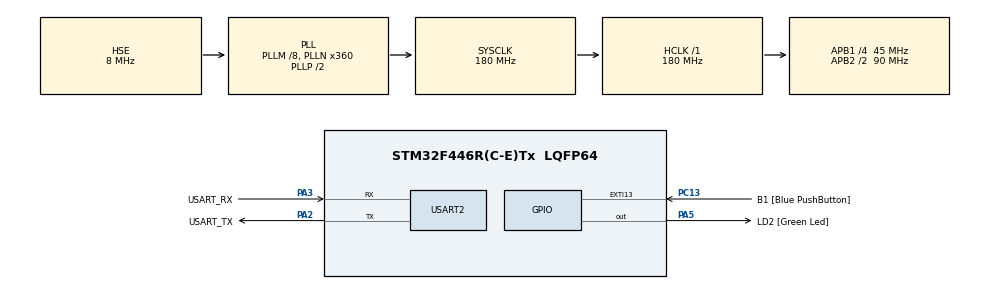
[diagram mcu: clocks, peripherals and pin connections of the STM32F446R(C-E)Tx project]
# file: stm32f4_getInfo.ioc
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Mcu.Family=STM32F4
Mcu.Name=STM32F446R(C-E)Tx
Mcu.Package=LQFP64
NVIC.PriorityGroup=NVIC_PRIORITYGROUP_0
PA13.GPIO_Label=TMS
PA13.Signal=SYS_JTMS-SWDIO
PA14.GPIO_Label=TCK
PA14.Signal=SYS_JTCK-SWCLK
PA2.GPIO_Label=USART_TX
PA2.Mode=Asynchronous
PA2.Signal=USART2_TX
PA3.GPIO_Label=USART_RX
PA3.Mode=Asynchronous
PA3.Signal=USART2_RX
PA5.GPIO_Label=LD2 [Green Led]
PA5.Signal=GPIO_Output
PB3.GPIO_Label=SWO
PB3.Signal=SYS_JTDO-SWO
PC13.GPIO_Label=B1 [Blue PushButton]
PC13.GPIO_ModeDefaultEXTI=GPIO_MODE_IT_FALLING
PC13.Signal=GPXTI13
PC14-OSC32_IN.Signal=RCC_OSC32_IN
PC15-OSC32_OUT.Signal=RCC_OSC32_OUT
PH0-OSC_IN.Mode=HSE-External-Clock-Source
PH0-OSC_IN.Signal=RCC_OSC_IN
PH1-OSC_OUT.Mode=HSE-External-Clock-Source
PH1-OSC_OUT.Signal=RCC_OSC_OUT
ProjectManager.HeapSize=0x200
ProjectManager.StackSize=0x400
ProjectManager.TargetToolchain=SW4STM32
RCC.AHBCLKDivider=RCC_SYSCLK_DIV1
RCC.AHBFreq_Value=180000000
RCC.APB1CLKDivider=RCC_HCLK_DIV4
RCC.APB1Freq_Value=45000000
RCC.APB1TimFreq_Value=90000000
RCC.APB2CLKDivider=RCC_HCLK_DIV2
RCC.APB2Freq_Value=90000000
RCC.APB2TimFreq_Value=180000000
RCC.CortexFreq_Value=180000000
RCC.Cortex_Div=SYSTICK_CLKSOURCE_HCLK
RCC.FLatency-AdvancedSettings=FLASH_LATENCY_5
RCC.HCLKFreq_Value=180000000
RCC.HSE_VALUE=8000000
RCC.HSI_VALUE=16000000
RCC.LSE_VALUE=32768
RCC.PLLI2SP=RCC_PLLI2SP_DIV2
RCC.PLLN=360
RCC.PLLP=RCC_PLLP_DIV2
RCC.PLLSAIP=RCC_PLLSAIP_DIV2
RCC.RCC_MCODiv1=RCC_MCODIV_1
RCC.RCC_MCODiv2=RCC_MCODIV_1
RCC.RCC_RTC_Clock_SourceVirtual=RCC_RTCCLKSOURCE_LSI
RCC.RCC_RTC_Clock_Source_FROM_HSE=RCC_RTCCLKSOURCE_HSE_DIV2
RCC.SYSCLKFreq_VALUE=180000000
RCC.SYSCLKSource=RCC_SYSCLKSOURCE_PLLCLK
RCC.USBFreq_Value=180000000
RCC.VCOOutputFreq_Value=360000000
USART2.VirtualMode=VM_ASYNC
board=NUCLEO-F446RE

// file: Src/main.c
/**
  ******************************************************************************
  * File Name          : main.c
  * Description        : Main program body
  ******************************************************************************
  ** This notice applies to any and all portions of this file
  * that are not between comment pairs USER CODE BEGIN and
  * USER CODE END. Other portions of this file, whether
  * inserted by the user or by software development tools
  * are owned by their respective copyright owners.
  *
  * COPYRIGHT(c) 2017 STMicroelectronics
  *
  * Redistribution and use in source and binary forms, with or without modification,
  * are permitted provided that the following conditions are met:
  *   1. Redistributions of source code must retain the above copyright notice,
  *      this list of conditions and the following disclaimer.
  *   2. Redistributions in binary form must reproduce the above copyright notice,
  *      this list of conditions and the following disclaimer in the documentation
  *      and/or other materials provided with the distribution.
  *   3. Neither the name of STMicroelectronics nor the names of its contributors
  *      may be used to endorse or promote products derived from this software
  *      without specific prior written permission.
  *
  * THIS SOFTWARE IS PROVIDED BY THE COPYRIGHT HOLDERS AND CONTRIBUTORS "AS IS"
  * AND ANY EXPRESS OR IMPLIED WARRANTIES, INCLUDING, BUT NOT LIMITED TO, THE
  * IMPLIED WARRANTIES OF MERCHANTABILITY AND FITNESS FOR A PARTICULAR PURPOSE ARE
  * DISCLAIMED. IN NO EVENT SHALL THE COPYRIGHT HOLDER OR CONTRIBUTORS BE LIABLE
  * FOR ANY DIRECT, INDIRECT, INCIDENTAL, SPECIAL, EXEMPLARY, OR CONSEQUENTIAL
  * DAMAGES (INCLUDING, BUT NOT LIMITED TO, PROCUREMENT OF SUBSTITUTE GOODS OR
  * SERVICES; LOSS OF USE, DATA, OR PROFITS; OR BUSINESS INTERRUPTION) HOWEVER
  * CAUSED AND ON ANY THEORY OF LIABILITY, WHETHER IN CONTRACT, STRICT LIABILITY,
  * OR TORT (INCLUDING NEGLIGENCE OR OTHERWISE) ARISING IN ANY WAY OUT OF THE USE
  * OF THIS SOFTWARE, EVEN IF ADVISED OF THE POSSIBILITY OF SUCH DAMAGE.
  *
  ******************************************************************************
  */
#include "main.h"
#include "stm32f4xx_hal.h"

/* USER CODE BEGIN Includes */
#include "stm32f4xx_nucleo.h"

/* USER CODE END Includes */

UART_HandleTypeDef huart2;

/* USER CODE BEGIN PV */
/* Private variables ---------------------------------------------------------*/
RCC_OscInitTypeDef RCC_OscInitStruct;
RCC_ClkInitTypeDef RCC_ClkInitStruct;

/* USER CODE END PV */

void SystemClock_Config(void);
static void MX_GPIO_Init(void);
static void MX_USART2_UART_Init(void);

/* USER CODE BEGIN PFP */
/* Private function prototypes -----------------------------------------------*/
#ifdef __GNUC__
#define PUTCHAR_PROTOTYPE int __io_putchar(int ch)
#else
#define PUTCHAR_PROTOTYPE int fputc(int ch, FILE *f)
#endif /* __GNUC__ */

/* USER CODE END PFP */

int main(void)
{

  /* MCU Configuration----------------------------------------------------------*/

  /* Reset of all peripherals, Initializes the Flash interface and the Systick. */
  HAL_Init();

  /* Configure the system clock */
  SystemClock_Config();

  /* Initialize all configured peripherals */
  MX_GPIO_Init();
  MX_USART2_UART_Init();

  /* USER CODE BEGIN 2 */
  BSP_LED_Init(LED2);
  BSP_LED_On(LED2);

  char uart2Data[24] = "Connected to UART Two\r\n";
   HAL_UART_Transmit(&huart2, (uint8_t *)&uart2Data,sizeof(uart2Data), 0xFFFF);

 	uint8_t len = 0;
 	char devidString[14] = {0};
 	uint32_t idcode = DBGMCU->IDCODE & 0xFFF;
 	//len += sprintf(devidString, "Device ID: 0x%lX\r\n", idcode);
 	//printf("%s", devidString);
 	switch (idcode)
 	{
	case 0x410: len += sprintf(devidString+len, "stm32f1xx medium-density"); break;
	case 0x411: len += sprintf(devidString+len, "stm32f2xx"); break;
	case 0x412: len += sprintf(devidString+len, "stm32f1xx low-density"); break;
	case 0x413: len += sprintf(devidString+len, "stm32f4xx"); break;
	case 0x414: len += sprintf(devidString+len, "stm32f1xx high-density"); break;
	case 0x415: len += sprintf(devidString+len, "stm32l4xx"); break;
	case 0x416: len += sprintf(devidString+len, "stm32l1xx medium-density"); break;
	case 0x417: len += sprintf(devidString+len, "stm32l0xx"); break;
	case 0x418: len += sprintf(devidString+len, "stm32f1xx connectivity line"); break;
	case 0x419: len += sprintf(devidString+len, "stm32f4xx high-density"); break;
	case 0x420: len += sprintf(devidString+len, "stm32f1xx value line"); break;
	case 0x421: len += sprintf(devidString+len, "stm32f446"); break;
	case 0x422: len += sprintf(devidString+len, "stm32f3xx"); break;
	case 0x423: len += sprintf(devidString+len, "stm32f4xx low power"); break;
	case 0x425: len += sprintf(devidString+len, "stm32l0xx cat. 2"); break;
	case 0x427: len += sprintf(devidString+len, "stm32l1xx medium-density/plus"); break;
	case 0x428: len += sprintf(devidString+len, "stm32f1xx value line high-density"); break;
	case 0x429: len += sprintf(devidString+len, "stm32l1xx cat. 2"); break;
	case 0x430: len += sprintf(devidString+len, "stm32f1xx xl-density"); break;
	case 0x431: len += sprintf(devidString+len, "stm32f411re"); break;
	case 0x432: len += sprintf(devidString+len, "stm32f37x"); break;
	case 0x433: len += sprintf(devidString+len, "stm32f4xx de"); break;
	case 0x434: len += sprintf(devidString+len, "stm32f4xx dsi"); break;
	case 0x435: len += sprintf(devidString+len, "stm32l43x"); break;
	case 0x436: len += sprintf(devidString+len, "stm32l1xx high-density"); break;
	case 0x437: len += sprintf(devidString+len, "stm32l152re"); break;
	case 0x438: len += sprintf(devidString+len, "stm32f334"); break;
	case 0x439: len += sprintf(devidString+len, "stm32f3xx small"); break;
	case 0x440: len += sprintf(devidString+len, "stm32f0xx"); break;
	case 0x441: len += sprintf(devidString+len, "stm32f412"); break;
	case 0x442: len += sprintf(devidString+len, "stm32f09x"); break;
	case 0x444: len += sprintf(devidString+len, "stm32f0xx small"); break;
	case 0x445: len += sprintf(devidString+len, "stm32f04x"); break;
	case 0x446: len += sprintf(devidString+len, "stm32f303 high-density"); break;
	case 0x447: len += sprintf(devidString+len, "stm32l0xx cat. 5"); break;
	case 0x448: len += sprintf(devidString+len, "stm32f0xx can"); break;
	case 0x449: len += sprintf(devidString+len, "stm32f7"); break;
	case 0x451: len += sprintf(devidString+len, "stm32f7xx"); break;
	case 0x457: len += sprintf(devidString+len, "stm32l011"); break;
	case 0x458: len += sprintf(devidString+len, "stm32f410"); break;
	case 0x463: len += sprintf(devidString+len, "stm32f413"); break;
	default: len += sprintf(devidString+len, "unknown device\r\n");
 	}

	uint32_t revCode = (DBGMCU->IDCODE & DBGMCU_IDCODE_REV_ID_Msk) >> DBGMCU_IDCODE_REV_ID_Pos;
	switch (revCode)
	{
	case 0x1000: len += sprintf(devidString+len, "  Revision A\r\n"); break;
	default: len += sprintf(devidString+len, " Revision %lX\r\n", revCode); break;
	}

 	printf("%s", devidString);
 	//GUI_DispString(devidString);

 	len = 0;
 	uint32_t cpuid = SCB->CPUID;
 	uint32_t var, pat;
 	pat = (cpuid & 0x0000000F);
 	var = (cpuid & 0x00F00000) >> 20;
 	uint32_t mvfr0;
 	char cpuString[24] = {0};

 	//len += sprintf(cpuString, "CPU ID: 0x");
 	//len += sprintf(cpuString+len, "%lX\r\n", cpuid);

 	if ((cpuid & 0xFF000000) == 0x41000000) // ARM
 		{
 			len += sprintf(cpuString+len, "ARM ");
 			switch((cpuid & 0x0000FFF0) >> 4)
 				{
 					case 0xC20 : len += sprintf(cpuString+len, "Cortex M0 r%ldp%ld\r\n", var, pat); break;
 					case 0xC60 : len += sprintf(cpuString+len, "Cortex M0+ r%ldp%ld\r\n", var, pat); break;
 					case 0xC21 : len += sprintf(cpuString+len, "Cortex M1 r%ldp%ld\r\n", var, pat); break;
 					case 0xC23 : len += sprintf(cpuString+len, "Cortex M3 r%ldp%ld\r\n", var, pat); break;
 					case 0xC24 : len += sprintf(cpuString+len, "Cortex M4 r%ldp%ld\r\n", var, pat); break;
 					case 0xC27 : len += sprintf(cpuString+len, "Cortex M7 r%ldp%ld\r\n", var, pat); break;

 					default : len += sprintf(cpuString+len, "Unknown CORE\r\n");
 				}
 		}

     mvfr0 = *(volatile uint32_t *)0xE000EF40;

     if (mvfr0 > 0){
 	 //mvfr0 = SCB->MVFR0;
     /*
     printf("FPCCR: %08lX\r\n", *(volatile uint32_t *)0xE000EF34); // 0xC0000000
     printf("FPCAR: %08lX\r\n", *(volatile uint32_t *)0xE000EF38);
     printf("FPDSCR: %08lX\r\n", *(volatile uint32_t *)0xE000EF3C);
     printf("MVFR0: %08lX\r\n", *(volatile uint32_t *)0xE000EF40); // 0x10110021 single or 10110221 double
     printf("MVFR1: %08lX\r\n", *(volatile uint32_t *)0xE000EF44); // 0x11000011 or 12000011
     printf("MVFR2: %08lX\r\n", *(volatile uint32_t *)0xE000EF48); // 0x00000040
	 */
     switch(mvfr0)
     	 {
     	 case 0x10110021 : len += sprintf(cpuString+len, "Single precision FPU\r\n"); break;
     	 case 0x10110221 : len += sprintf(cpuString+len, "Double precision FPU\r\n"); break;
     	 //default : len += sprintf(cpuString+len, "No FPU\r\n");
     	 default: ;
     	 }
     }
 	printf("%s",cpuString);

	len = 0;
	char memString[512] = {0};
	switch (idcode)
	{
	case 0x421: len += sprintf(memString+len, "%dK Flash, 128K SRAM\r\n", *((unsigned short *)FLASHSIZE_BASE)); break;
	default: len += sprintf(memString+len, "unknown device\r\n");
	}
	printf("%s", memString);

	len = 0;
	char pkgString[128] = {0};
	uint32_t pkg = *((uint32_t *)PACKAGE_BASE) & 0x0700;
	switch (pkg)
	{
	case 0x00000000: len += sprintf(pkgString+len, "WLCSP36, UFQFPN48, or LQFP64\r\n"); break;
	case 0x00000100: len += sprintf(pkgString+len, "WLCSP168, FBGA169, LQFP100, LQFP64, or UFQFPN48\r\n"); break;
	case 0x00000200: len += sprintf(pkgString+len, "WLCSP64, WLCSP81, LQFP176, UFBGA1763\r\n"); break;
	case 0x00000300: len += sprintf(pkgString+len, "LQFP144, UFBGA144, UFBGA144, or UFBGA100\r\n"); break;
	case 0x00000400: len += sprintf(pkgString+len, "LQFP100, LQFP208, or TFBGA216\r\n"); break;
	case 0x00000500: len += sprintf(pkgString+len, "LQFP208 or TFBGA216\r\n"); break;
	case 0x00000600: len += sprintf(pkgString+len, "LQFP176, LQFP208 or TFBGA216\r\n"); break;
	case 0x00000700: len += sprintf(pkgString+len, "TQFP64, UFBGA144, or LQFP144\r\n"); break;
	}
	printf("%s", pkgString);

	len = 0;
	char idString[2048] = {0};
	uint32_t word0 = *(uint32_t *)(UID_BASE);
	uint32_t word1 = *(uint32_t *)(UID_BASE + 0x04);
	uint32_t word2 = *(uint32_t *)(UID_BASE + 0x08);
	uint64_t lotNum;
	char lotNumString[32] = {0};
	lotNum = ((uint64_t)word2 << 24 ) | (word1 >> 8);
	len += sprintf(idString, "Device Unique ID: ");
	len += sprintf(idString+len, "%08lX %08lX %08lX\r\n", word0, word1, word2);
	uint32_t x = word0 & 0xFFFF;
	uint32_t y = (word0 & 0xFFFF0000) >> 16;
	uint32_t wafer = word1 & 0xFF;
	sprintf(lotNumString, "%s", (char *)&lotNum);
	len += sprintf(idString+len, "Wafer %ld of Lot %s\r\n", wafer, lotNumString);
	len += sprintf(idString+len, "Location on wafer: X:%ld, Y:%ld\r\n", x,y);
	printf("%s", idString);

	len = 0;
	char myString[512] = {0};
	len += sprintf(myString+len, "HAL Version: ");
	uint32_t halVersion = HAL_GetHalVersion();
	len += sprintf(myString+len, "%d.", (uint8_t)(halVersion >> 24) & 0xff);
	len += sprintf(myString+len, "%d.", (uint8_t)(halVersion >> 16) & 0xff);
	len += sprintf(myString+len, "%d ", (uint8_t)(halVersion >> 8) & 0xff);
	if ((uint8_t)(halVersion >> 0) & 0xff)
	  {
		len += sprintf(myString+len, "rc%d\r\n", (uint8_t)(halVersion >> 0) & 0xff);
	  }
	else
	  {
		len += sprintf(myString+len, "\r\n");
	  }

	len += sprintf(myString+len, "BSP Version: ");
	uint32_t bspVersion = BSP_GetVersion();
	len += sprintf(myString+len, "%d.", (uint8_t)(bspVersion >> 24) & 0xff);
	len += sprintf(myString+len, "%d.", (uint8_t)(bspVersion >> 16) & 0xff);
	len += sprintf(myString+len, "%d ", (uint8_t)(bspVersion >> 8) & 0xff);
	if ((uint8_t)(bspVersion >> 0) & 0xff)
	  {
		len += sprintf(myString+len, "rc%d\r\n", (uint8_t)(bspVersion >> 0) & 0xff);
	  }
	else
	  {
		len += sprintf(myString+len, "\r\n");
	  }
	printf("%s", myString);

	printf("\r\n");

 	printf("Oscillators and clocks\r\n");
 	printf("----------------------\r\n");

 	printf("            HSE State: ");
 	switch (RCC_OscInitStruct.HSEState)
 	{
 	case RCC_HSE_OFF: printf("Off\r\n"); break;
 	case RCC_HSE_ON:  printf("On\r\n"); break;
 	case RCC_HSE_BYPASS: printf("Bypass\r\n"); break;
 	}

 	printf("            LSE State: ");
 	switch (RCC_OscInitStruct.LSEState)
 	{
 	case RCC_LSE_OFF: printf("Off\r\n"); break;
 	case RCC_LSE_ON:  printf("On\r\n"); break;
 	case RCC_LSE_BYPASS: printf("Bypass\r\n"); break;
 	}

 	printf("            HSI State: ");
 	switch (RCC_OscInitStruct.HSIState)
 	{
 	case RCC_HSI_OFF: printf("Off\r\n"); break;
 	case RCC_HSI_ON:  printf("On\r\n"); break;
 	}

 	printf("            LSI State: ");
 	switch (RCC_OscInitStruct.LSIState)
 	{
 	case RCC_LSI_OFF: printf("Off\r\n"); break;
 	case RCC_LSI_ON:  printf("On\r\n"); break;
 	}
 	if (RCC_OscInitStruct.PLL.PLLState > 0) {
 	printf("           PLL Source: ");
 		switch (RCC_OscInitStruct.PLL.PLLSource)
 		{
 			case RCC_PLLSOURCE_HSI : printf("HSI\r\n"); break;
 			case RCC_PLLSOURCE_HSE : printf("HSE\r\n"); break;
 			default : printf("??\r\n");
 		}
 	}

	uint32_t latency;
	HAL_RCC_GetClockConfig(&RCC_ClkInitStruct, &latency);

	printf("\r\n");

	printf("        SYSCLK Source: ");
	switch (RCC_ClkInitStruct.SYSCLKSource)
	{
		case RCC_SYSCLKSOURCE_HSI : printf("HSI\r\n"); break;
		case RCC_SYSCLKSOURCE_HSE : printf("HSE\r\n"); break;
		case RCC_SYSCLKSOURCE_PLLCLK : printf("PLL\r\n"); break;
		case RCC_SYSCLKSOURCE_PLLRCLK : printf("PLLRCLK\r\n"); break;
		default : printf("??\r\n");
	}

	printf("       AHBCLK Divider: ");
	switch (RCC_ClkInitStruct.AHBCLKDivider)
	{
	case RCC_SYSCLK_DIV1 : printf("1\r\n"); break;
	case RCC_SYSCLK_DIV2 : printf("2\r\n"); break;
	case RCC_SYSCLK_DIV4 : printf("4\r\n"); break;
	case RCC_SYSCLK_DIV8 : printf("8\r\n"); break;
	case RCC_SYSCLK_DIV16 : printf("16\r\n"); break;
	case RCC_SYSCLK_DIV64 : printf("64\r\n"); break;
	case RCC_SYSCLK_DIV128 : printf("128\r\n"); break;
	case RCC_SYSCLK_DIV256 : printf("256\r\n"); break;
	case RCC_SYSCLK_DIV512 : printf("512\r\n"); break;
	}

	printf("      APB1CLK Divider: ");
	switch (RCC_ClkInitStruct.APB1CLKDivider)
	{
	case RCC_CFGR_PPRE1_DIV1 : printf("1\r\n"); break;
	case RCC_CFGR_PPRE1_DIV2 : printf("2\r\n"); break;
	case RCC_CFGR_PPRE1_DIV4 : printf("4\r\n"); break;
	case RCC_CFGR_PPRE1_DIV8 : printf("8\r\n"); break;
	case RCC_CFGR_PPRE1_DIV16 : printf("16\r\n"); break;
	}

	printf("      APB2CLK Divider: ");
	switch (RCC_ClkInitStruct.APB2CLKDivider)
	{
	case RCC_CFGR_PPRE1_DIV1 : printf("1\r\n"); break;
	case RCC_CFGR_PPRE1_DIV2 : printf("2\r\n"); break;
	case RCC_CFGR_PPRE1_DIV4 : printf("4\r\n"); break;
	case RCC_CFGR_PPRE1_DIV8 : printf("8\r\n"); break;
	case RCC_CFGR_PPRE1_DIV16 : printf("16\r\n"); break;
	}

	printf("        Flash latency: %lX\r\n", latency);

 	len = 0;
 	char sysclkString[29] = {0};
 	len += sprintf(sysclkString, "    System core clock: ");
 	len += sprintf(sysclkString+len, "%lu\r\n", HAL_RCC_GetSysClockFreq());
 	printf("%s", sysclkString);

 	printf("\r\n");
 	printf("Core registers\r\n");
 	printf("--------------\r\n");
	register int r0 asm ("r0");
	printf("           r0: 0x%08X\r\n", r0);
	register int r1 asm ("r1");
	printf("           r1: 0x%08X\r\n", r1);
	register int r2 asm ("r2");
	printf("           r2: 0x%08X\r\n", r2);
	register int r3 asm ("r3");
	printf("           r3: 0x%08X\r\n", r3);
	register int r4 asm ("r4");
	printf("           r4: 0x%08X\r\n", r4);
	register int r5 asm ("r5");
	printf("           r5: 0x%08X\r\n", r5);
	register int r6 asm ("r6");
	printf("           r6: 0x%08X\r\n", r6);
	register int r7 asm ("r7");
	printf("           r7: 0x%08X\r\n", r7);
	register int r8 asm ("r8");
	printf("           r8: 0x%08X\r\n", r8);
	register int r9 asm ("r9");
	printf("           r9: 0x%08X\r\n", r9);
	register int r10 asm ("r10");
	printf("          r10: 0x%08X\r\n", r10);
	register int r11 asm ("r11");
	printf("          r11: 0x%08X\r\n", r11);
	register int r12 asm ("r12");
	printf("          r12: 0x%08X\r\n", r12);
	register int sp asm ("sp");
	printf("stack pointer: 0x%08X\r\n", sp);
	register int lr asm ("lr");
	printf("link register: 0x%08X\r\n", lr);

  /* USER CODE END 2 */

  /* Infinite loop */
  while (1)
  {

  }

}

/** System Clock Configuration
*/
void SystemClock_Config(void)
{

  //RCC_OscInitTypeDef RCC_OscInitStruct;
  //RCC_ClkInitTypeDef RCC_ClkInitStruct;

    /**Configure the main internal regulator output voltage
    */
  __HAL_RCC_PWR_CLK_ENABLE();

  __HAL_PWR_VOLTAGESCALING_CONFIG(PWR_REGULATOR_VOLTAGE_SCALE1);

    /**Initializes the CPU, AHB and APB busses clocks
    */
  RCC_OscInitStruct.OscillatorType = RCC_OSCILLATORTYPE_HSE;
  RCC_OscInitStruct.HSEState = RCC_HSE_BYPASS;
  //RCC_OscInitStruct.OscillatorType = RCC_OSCILLATORTYPE_HSI;
  //RCC_OscInitStruct.HSIState = RCC_HSI_ON;
  //RCC_OscInitStruct.HSICalibrationValue = 16;
  RCC_OscInitStruct.PLL.PLLState = RCC_PLL_ON;
  RCC_OscInitStruct.PLL.PLLSource = RCC_PLLSOURCE_HSE;
  //RCC_OscInitStruct.PLL.PLLSource = RCC_PLLSOURCE_HSI;
  RCC_OscInitStruct.PLL.PLLM = 8;
  //RCC_OscInitStruct.PLL.PLLM = 16;
  RCC_OscInitStruct.PLL.PLLN = 360;
  RCC_OscInitStruct.PLL.PLLP = RCC_PLLP_DIV2;
  RCC_OscInitStruct.PLL.PLLQ = 2;
  RCC_OscInitStruct.PLL.PLLR = 2;
  if (HAL_RCC_OscConfig(&RCC_OscInitStruct) != HAL_OK)
  {
    _Error_Handler(__FILE__, __LINE__);
  }

    /**Activate the Over-Drive mode
    */
  if (HAL_PWREx_EnableOverDrive() != HAL_OK)
  {
    _Error_Handler(__FILE__, __LINE__);
  }

    /**Initializes the CPU, AHB and APB busses clocks
    */
  RCC_ClkInitStruct.ClockType = RCC_CLOCKTYPE_HCLK|RCC_CLOCKTYPE_SYSCLK
                              |RCC_CLOCKTYPE_PCLK1|RCC_CLOCKTYPE_PCLK2;
  RCC_ClkInitStruct.SYSCLKSource = RCC_SYSCLKSOURCE_PLLCLK;
  RCC_ClkInitStruct.AHBCLKDivider = RCC_SYSCLK_DIV1;
  RCC_ClkInitStruct.APB1CLKDivider = RCC_HCLK_DIV4;
  RCC_ClkInitStruct.APB2CLKDivider = RCC_HCLK_DIV2;

  if (HAL_RCC_ClockConfig(&RCC_ClkInitStruct, FLASH_LATENCY_5) != HAL_OK)
  {
    _Error_Handler(__FILE__, __LINE__);
  }

    /**Configure the Systick interrupt time
    */
  HAL_SYSTICK_Config(HAL_RCC_GetHCLKFreq()/1000);

    /**Configure the Systick
    */
  HAL_SYSTICK_CLKSourceConfig(SYSTICK_CLKSOURCE_HCLK);

  /* SysTick_IRQn interrupt configuration */
  HAL_NVIC_SetPriority(SysTick_IRQn, 0, 0);
}

/* USART2 init function */
static void MX_USART2_UART_Init(void)
{

  huart2.Instance = USART2;
  huart2.Init.BaudRate = 115200;
  huart2.Init.WordLength = UART_WORDLENGTH_8B;
  huart2.Init.StopBits = UART_STOPBITS_1;
  huart2.Init.Parity = UART_PARITY_NONE;
  huart2.Init.Mode = UART_MODE_TX_RX;
  huart2.Init.HwFlowCtl = UART_HWCONTROL_NONE;
  huart2.Init.OverSampling = UART_OVERSAMPLING_16;
  if (HAL_UART_Init(&huart2) != HAL_OK)
  {
    _Error_Handler(__FILE__, __LINE__);
  }

}

/** Configure pins as
        * Analog
        * Input
        * Output
        * EVENT_OUT
        * EXTI
*/
static void MX_GPIO_Init(void)
{

  GPIO_InitTypeDef GPIO_InitStruct;

  /* GPIO Ports Clock Enable */
  __HAL_RCC_GPIOC_CLK_ENABLE();
  __HAL_RCC_GPIOH_CLK_ENABLE();
  __HAL_RCC_GPIOA_CLK_ENABLE();
  __HAL_RCC_GPIOB_CLK_ENABLE();

  /*Configure GPIO pin Output Level */
  HAL_GPIO_WritePin(LD2_GPIO_Port, LD2_Pin, GPIO_PIN_RESET);

  /*Configure GPIO pin : B1_Pin */
  GPIO_InitStruct.Pin = B1_Pin;
  GPIO_InitStruct.Mode = GPIO_MODE_IT_FALLING;
  GPIO_InitStruct.Pull = GPIO_NOPULL;
  HAL_GPIO_Init(B1_GPIO_Port, &GPIO_InitStruct);

  /*Configure GPIO pin : LD2_Pin */
  GPIO_InitStruct.Pin = LD2_Pin;
  GPIO_InitStruct.Mode = GPIO_MODE_OUTPUT_PP;
  GPIO_InitStruct.Pull = GPIO_NOPULL;
  GPIO_InitStruct.Speed = GPIO_SPEED_FREQ_LOW;
  HAL_GPIO_Init(LD2_GPIO_Port, &GPIO_InitStruct);

}

/* USER CODE BEGIN 4 */
/**
  * @brief  Retargets the C library printf function to the USART.
  * @param  None
  * @retval None
  */
PUTCHAR_PROTOTYPE
{
  /* Place your implementation of fputc here */
  /* e.g. write a character to the USART2 and Loop until the end of transmission */
  HAL_UART_Transmit(&huart2, (uint8_t *)&ch, 1, 0xFFFF);

  return ch;
}

/* USER CODE END 4 */

void _Error_Handler(char * file, int line)
{
  while(1)
  {
  }
}

/************************ (C) COPYRIGHT STMicroelectronics *****END OF FILE****/
